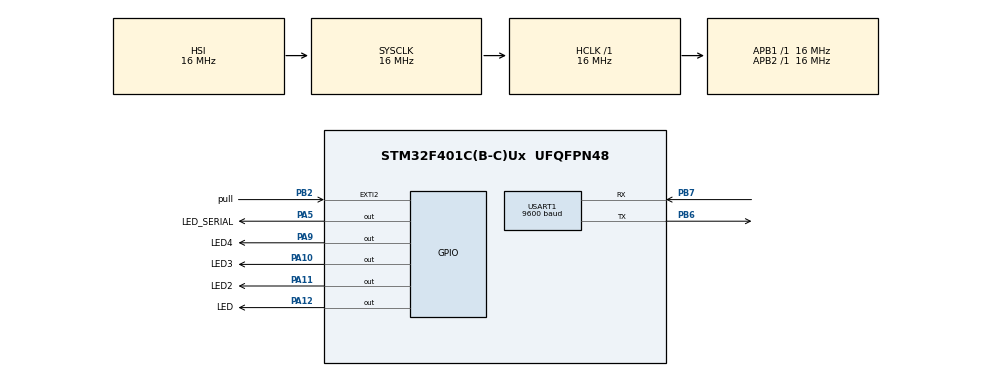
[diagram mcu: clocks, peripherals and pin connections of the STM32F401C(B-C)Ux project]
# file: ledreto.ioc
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Dma.Request0=USART1_RX
Dma.USART1_RX.0.Direction=DMA_PERIPH_TO_MEMORY
Dma.USART1_RX.0.FIFOMode=DMA_FIFOMODE_DISABLE
Dma.USART1_RX.0.Instance=DMA2_Stream2
Dma.USART1_RX.0.MemDataAlignment=DMA_MDATAALIGN_BYTE
Dma.USART1_RX.0.MemInc=DMA_MINC_ENABLE
Dma.USART1_RX.0.Mode=DMA_NORMAL
Dma.USART1_RX.0.PeriphDataAlignment=DMA_PDATAALIGN_BYTE
Dma.USART1_RX.0.PeriphInc=DMA_PINC_DISABLE
Dma.USART1_RX.0.Priority=DMA_PRIORITY_LOW
Mcu.Family=STM32F4
Mcu.Name=STM32F401C(B-C)Ux
Mcu.Package=UFQFPN48
NVIC.DMA2_Stream2_IRQn=true\:0\:0\:false\:false\:true\:false\:true\:true
NVIC.EXTI2_IRQn=true\:0\:0\:true\:false\:true\:true\:true\:true
NVIC.PriorityGroup=NVIC_PRIORITYGROUP_2
NVIC.TIM2_IRQn=true\:1\:0\:true\:false\:true\:true\:true\:true
NVIC.USART1_IRQn=true\:0\:0\:false\:false\:true\:true\:true\:true
PA10.GPIO_Label=LED3
PA10.Signal=GPIO_Output
PA11.GPIO_Label=LED2
PA11.Signal=GPIO_Output
PA12.GPIO_Label=LED
PA12.Signal=GPIO_Output
PA5.GPIO_Label=LED_SERIAL
PA5.Signal=GPIO_Output
PA9.GPIO_Label=LED4
PA9.Signal=GPIO_Output
PB2.GPIO_Label=pull
PB2.GPIO_ModeDefaultEXTI=GPIO_MODE_IT_FALLING
PB2.GPIO_PuPd=GPIO_PULLUP
PB2.Signal=GPXTI2
PB6.Mode=Asynchronous
PB6.Signal=USART1_TX
PB7.Mode=Asynchronous
PB7.Signal=USART1_RX
ProjectManager.HeapSize=0x200
ProjectManager.StackSize=0x400
ProjectManager.TargetToolchain=CMake
RCC.AHBFreq_Value=16000000
RCC.APB1Freq_Value=16000000
RCC.APB2Freq_Value=16000000
RCC.CortexFreq_Value=16000000
RCC.HSE_VALUE=25000000
RCC.HSI_VALUE=16000000
RCC.LSE_VALUE=32768
RCC.SYSCLKFreq_VALUE=16000000
RCC.VCOOutputFreq_Value=192000000
TIM2.AutoReloadPreload=TIM_AUTORELOAD_PRELOAD_ENABLE
TIM2.Period=99
TIM2.Prescaler=16000-1
USART1.BaudRate=9600
USART1.VirtualMode=VM_ASYNC
VP_TIM2_VS_ClockSourceINT.Mode=Internal
board=custom

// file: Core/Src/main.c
/* USER CODE BEGIN Header */
/**
  ******************************************************************************
  * @file           : main.c
  * @brief          : Main program body
  ******************************************************************************
  * @attention
  *
  * Copyright (c) 2026 STMicroelectronics.
  * All rights reserved.
  *
  * This software is licensed under terms that can be found in the LICENSE file
  * in the root directory of this software component.
  * If no LICENSE file comes with this software, it is provided AS-IS.
  *
  ******************************************************************************
  */
/* USER CODE END Header */
#include "main.h"

/* USER CODE BEGIN Includes */
#include "stdio.h"
#include "string.h"
#include "stdlib.h"
#include "stdbool.h"
#include "math.h"
#include "stdint.h"
#include "uart.h"
#include "UARTRX.h"
/* USER CODE END Includes */

TIM_HandleTypeDef htim2;

UART_HandleTypeDef huart1;
DMA_HandleTypeDef hdma_usart1_rx;

void SystemClock_Config(void);
static void MX_GPIO_Init(void);
static void MX_DMA_Init(void);
static void MX_TIM2_Init(void);
static void MX_USART1_UART_Init(void);

/* USER CODE BEGIN 0 */
void procesa_rx(void)
{
  uint16_t i;

  if (UARTRX1.trama_rx == NULL)
  {
    return;
  }

  for (i = 0; i < UARTRX1.num_datos; i++)
  {
    uint8_t dato = UARTRX1.trama_rx[i];

    if ((dato == '\r') || (dato == '\n') || (dato == ' ') || (dato == '\t'))
    {
      continue;
    }

    if (dato == '1')
    {
      HAL_GPIO_WritePin(LED_SERIAL_GPIO_Port, LED_SERIAL_Pin, GPIO_PIN_SET);
    }
    else if (dato == '0')
    {
      HAL_GPIO_WritePin(LED_SERIAL_GPIO_Port, LED_SERIAL_Pin, GPIO_PIN_RESET);
    }

    return;
  }
}
/* USER CODE END 0 */

int main(void)
{

  /* MCU Configuration--------------------------------------------------------*/

  /* Reset of all peripherals, Initializes the Flash interface and the Systick. */
  HAL_Init();

  /* Configure the system clock */
  SystemClock_Config();

  /* Initialize all configured peripherals */
  MX_GPIO_Init();
  MX_DMA_Init();
  MX_TIM2_Init();
  MX_USART1_UART_Init();
  /* USER CODE BEGIN 2 */
  HAL_TIM_Base_Start_IT(&htim2);
  uartRX_it_idle_dma_init(&UARTRX1);
  uint32_t ultimo_toggle_led = HAL_GetTick();
  /* USER CODE END 2 */

  /* Infinite loop */
  while (1)
  {

    /* USER CODE BEGIN 3 */
    if ((uint32_t)(HAL_GetTick() - ultimo_toggle_led) >= 100U)
    {
      ultimo_toggle_led = HAL_GetTick();
      HAL_GPIO_TogglePin(LED_GPIO_Port, LED_Pin);
    }

    if (UARTRX1.flag_rx == 1)
    {
      uartx_write_text(&huart1, (char *)UARTRX1.trama_rx);
      procesa_rx();
      uartRX_DMA_Re_init(&UARTRX1);
    }
  }
  /* USER CODE END 3 */
}

void SystemClock_Config(void)
{
  RCC_OscInitTypeDef RCC_OscInitStruct = {0};
  RCC_ClkInitTypeDef RCC_ClkInitStruct = {0};

  /** Configure the main internal regulator output voltage
  */
  __HAL_RCC_PWR_CLK_ENABLE();
  __HAL_PWR_VOLTAGESCALING_CONFIG(PWR_REGULATOR_VOLTAGE_SCALE2);

  /** Initializes the RCC Oscillators according to the specified parameters
  * in the RCC_OscInitTypeDef structure.
  */
  RCC_OscInitStruct.OscillatorType = RCC_OSCILLATORTYPE_HSI;
  RCC_OscInitStruct.HSIState = RCC_HSI_ON;
  RCC_OscInitStruct.HSICalibrationValue = RCC_HSICALIBRATION_DEFAULT;
  RCC_OscInitStruct.PLL.PLLState = RCC_PLL_NONE;
  if (HAL_RCC_OscConfig(&RCC_OscInitStruct) != HAL_OK)
  {
    Error_Handler();
  }

  /** Initializes the CPU, AHB and APB buses clocks
  */
  RCC_ClkInitStruct.ClockType = RCC_CLOCKTYPE_HCLK|RCC_CLOCKTYPE_SYSCLK
                              |RCC_CLOCKTYPE_PCLK1|RCC_CLOCKTYPE_PCLK2;
  RCC_ClkInitStruct.SYSCLKSource = RCC_SYSCLKSOURCE_HSI;
  RCC_ClkInitStruct.AHBCLKDivider = RCC_SYSCLK_DIV1;
  RCC_ClkInitStruct.APB1CLKDivider = RCC_HCLK_DIV1;
  RCC_ClkInitStruct.APB2CLKDivider = RCC_HCLK_DIV1;

  if (HAL_RCC_ClockConfig(&RCC_ClkInitStruct, FLASH_LATENCY_0) != HAL_OK)
  {
    Error_Handler();
  }
}

static void MX_TIM2_Init(void)
{

  TIM_ClockConfigTypeDef sClockSourceConfig = {0};
  TIM_MasterConfigTypeDef sMasterConfig = {0};

  htim2.Instance = TIM2;
  htim2.Init.Prescaler = 16000-1;
  htim2.Init.CounterMode = TIM_COUNTERMODE_UP;
  htim2.Init.Period = 99;
  htim2.Init.ClockDivision = TIM_CLOCKDIVISION_DIV1;
  htim2.Init.AutoReloadPreload = TIM_AUTORELOAD_PRELOAD_ENABLE;
  if (HAL_TIM_Base_Init(&htim2) != HAL_OK)
  {
    Error_Handler();
  }
  sClockSourceConfig.ClockSource = TIM_CLOCKSOURCE_INTERNAL;
  if (HAL_TIM_ConfigClockSource(&htim2, &sClockSourceConfig) != HAL_OK)
  {
    Error_Handler();
  }
  sMasterConfig.MasterOutputTrigger = TIM_TRGO_RESET;
  sMasterConfig.MasterSlaveMode = TIM_MASTERSLAVEMODE_DISABLE;
  if (HAL_TIMEx_MasterConfigSynchronization(&htim2, &sMasterConfig) != HAL_OK)
  {
    Error_Handler();
  }

}

static void MX_USART1_UART_Init(void)
{

  huart1.Instance = USART1;
  huart1.Init.BaudRate = 9600;
  huart1.Init.WordLength = UART_WORDLENGTH_8B;
  huart1.Init.StopBits = UART_STOPBITS_1;
  huart1.Init.Parity = UART_PARITY_NONE;
  huart1.Init.Mode = UART_MODE_TX_RX;
  huart1.Init.HwFlowCtl = UART_HWCONTROL_NONE;
  huart1.Init.OverSampling = UART_OVERSAMPLING_16;
  if (HAL_UART_Init(&huart1) != HAL_OK)
  {
    Error_Handler();
  }

}

static void MX_DMA_Init(void)
{

  /* DMA controller clock enable */
  __HAL_RCC_DMA2_CLK_ENABLE();

  /* DMA interrupt init */
  /* DMA2_Stream2_IRQn interrupt configuration */
  HAL_NVIC_SetPriority(DMA2_Stream2_IRQn, 0, 0);
  HAL_NVIC_EnableIRQ(DMA2_Stream2_IRQn);

}

static void MX_GPIO_Init(void)
{
  GPIO_InitTypeDef GPIO_InitStruct = {0};

  /* GPIO Ports Clock Enable */
  __HAL_RCC_GPIOA_CLK_ENABLE();
  __HAL_RCC_GPIOB_CLK_ENABLE();

  /*Configure GPIO pin Output Level */
  HAL_GPIO_WritePin(GPIOA, LED_SERIAL_Pin|LED4_Pin|LED3_Pin|LED2_Pin
                          |LED_Pin, GPIO_PIN_RESET);

  /*Configure GPIO pins : LED_SERIAL_Pin LED4_Pin LED3_Pin LED2_Pin
                           LED_Pin */
  GPIO_InitStruct.Pin = LED_SERIAL_Pin|LED4_Pin|LED3_Pin|LED2_Pin
                          |LED_Pin;
  GPIO_InitStruct.Mode = GPIO_MODE_OUTPUT_PP;
  GPIO_InitStruct.Pull = GPIO_NOPULL;
  GPIO_InitStruct.Speed = GPIO_SPEED_FREQ_LOW;
  HAL_GPIO_Init(GPIOA, &GPIO_InitStruct);

  /*Configure GPIO pin : pull_Pin */
  GPIO_InitStruct.Pin = pull_Pin;
  GPIO_InitStruct.Mode = GPIO_MODE_IT_FALLING;
  GPIO_InitStruct.Pull = GPIO_PULLUP;
  HAL_GPIO_Init(pull_GPIO_Port, &GPIO_InitStruct);

  /* EXTI interrupt init*/
  HAL_NVIC_SetPriority(EXTI2_IRQn, 0, 0);
  HAL_NVIC_EnableIRQ(EXTI2_IRQn);

}

void Error_Handler(void)
{
  __disable_irq();
  while (1)
  {
  }
}
